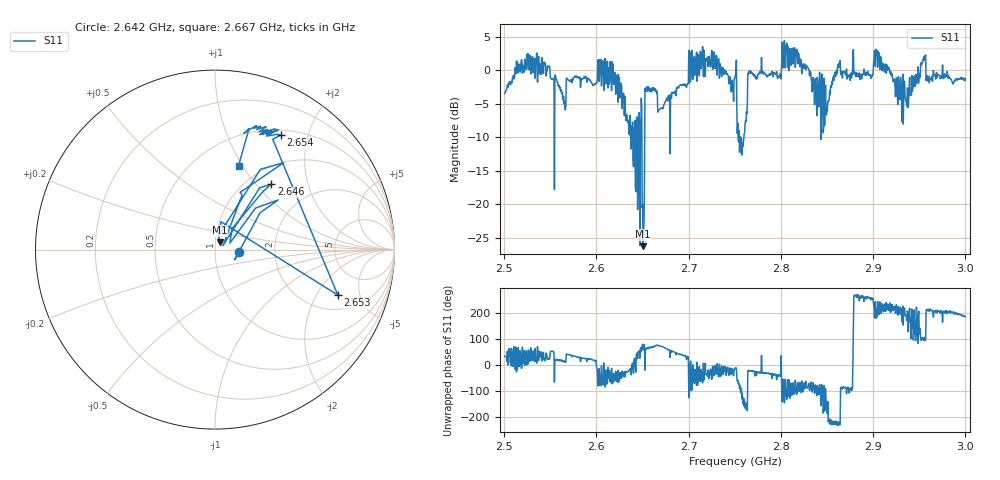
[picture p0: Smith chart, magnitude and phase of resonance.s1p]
# HZ S RI R 50
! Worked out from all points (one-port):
!   1009 points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, 2.5 GHz to 3 GHz, reference 50 ohm
!   lowest |S11| = -26.3 dB at 2.651 GHz (marker M1), VSWR 1.10, Z = 52.5 + j4.3 ohm
!   |S11| at or under -10 dB: 2.637135 GHz to 2.638022 GHz (886.5 kHz wide, 0.0336 % of centre); 2.649299 GHz to 2.652354 GHz (3.055 MHz wide, 0.115 % of centre); 2.75572 GHz to 2.759908 GHz (4.187 MHz wide, 0.152 % of centre) (the widest 3 of 12)
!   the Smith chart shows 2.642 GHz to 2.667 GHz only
!   S11 on the Smith chart (normalised r, x): 2.642 GHz: 1.31, -0.04; 2.646 GHz: 1.27, +1.21; 2.653 GHz: 2.85, -3.10; 2.654 GHz: 0.57, +1.58; 2.667 GHz: 0.79, +0.96
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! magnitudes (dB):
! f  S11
! 2.5 GHz  -3.5
! 2.527 GHz  2.2
! 2.563 GHz  -3.3
! 2.604 GHz  1.6
! 2.625 GHz  -4.2
! 2.642 GHz  -17.5
! 2.646 GHz  -6.3
! 2.65 GHz  -20.6
! 2.651 GHz  -26.3
! 2.653 GHz  -2.7
! 2.654 GHz  -2.7
! 2.655 GHz  -2.5
! 2.667 GHz  -6.3
! 2.688 GHz  -2.6
! 2.715 GHz  2.3
! 2.75 GHz  -1.1
! 2.758 GHz  -12.7
! 2.767 GHz  -0.5
! 2.813 GHz  3.3
! 2.848 GHz  -2.2
! 2.862 GHz  0.8
! 2.875 GHz  -1.5
! 2.897 GHz  -1.2
! 2.904 GHz  3.0
! 2.938 GHz  -2.8
! 2.954 GHz  1.8
! 2.96 GHz  -1.1
! 3 GHz  -1.2
